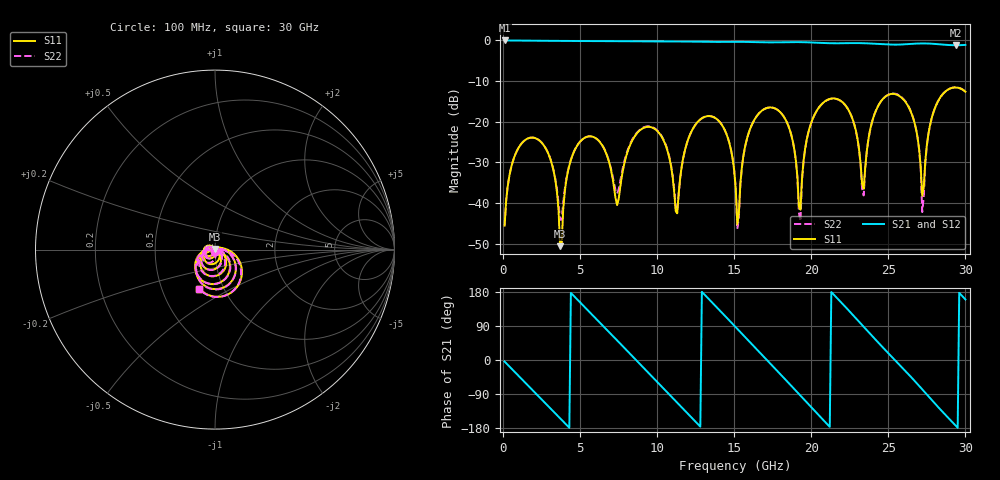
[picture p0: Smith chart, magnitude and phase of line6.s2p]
! Created Sun Feb 16 16:33:10 2025
! List of port names and net name(s): example Port n = <port_name> <net_name1> <net_name2> ...
! Port 1 = P1 P1
! Port 2 = P2 P1
# hz S ma R 50
! 2 Port Network Data from data block
! freq  magS11  angS11  magS21  angS21  magS12  angS12  magS22  angS22
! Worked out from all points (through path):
!   300 points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, 100 MHz to 30 GHz, reference 50 ohm
!   highest |S21| = -0.01 dB at 100 MHz (marker M1); lowest = -1.2 dB at 29.4 GHz (marker M2)
!   group delay of S21, straight-line fit = 119 ps
!   lowest |S11| = -50.6 dB at 3.7 GHz (marker M3), VSWR 1.01, Z = 50 + j0.294 ohm
!   |S11| at or under -10 dB: start of sweep to end of sweep
!   |S22| runs from -46.4 to -11.5 dB; largest |S21 - S12| = 0
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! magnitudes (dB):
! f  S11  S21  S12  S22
! 100 MHz  -45.5  0.0  0.0  -45.5
! 2.1 GHz  -24.1  -0.1  -0.1  -24.0
! 3.3 GHz  -32.5  -0.1  -0.1  -32.3
! 3.7 GHz  -50.6  -0.1  -0.1  -44.1
! 5.1 GHz  -24.5  -0.1  -0.1  -24.5
! 7.4 GHz  -40.5  -0.2  -0.2  -37.7
! 10.1 GHz  -22.7  -0.2  -0.2  -22.5
! 11.3 GHz  -42.5  -0.2  -0.2  -42.1
! 13.1 GHz  -18.8  -0.4  -0.4  -18.8
! 15.1 GHz  -36.5  -0.3  -0.3  -36.6
! 17.7 GHz  -16.8  -0.5  -0.5  -16.8
! 18.8 GHz  -24.8  -0.4  -0.4  -24.8
! 19.3 GHz  -41.6  -0.4  -0.4  -44.4
! 20.1 GHz  -19.2  -0.5  -0.5  -19.3
! 22.3 GHz  -16.4  -0.7  -0.7  -16.4
! 23.4 GHz  -36.5  -0.7  -0.7  -38.2
! 25.1 GHz  -13.2  -1.0  -1.0  -13.2
! 26.7 GHz  -20.3  -0.8  -0.8  -20.2
! 27.2 GHz  -38.2  -0.7  -0.7  -42.2
! 27.8 GHz  -19.3  -0.8  -0.8  -19.4
! 29.4 GHz  -11.6  -1.2  -1.2  -11.5
! 30 GHz  -12.6  -1.1  -1.1  -12.6
